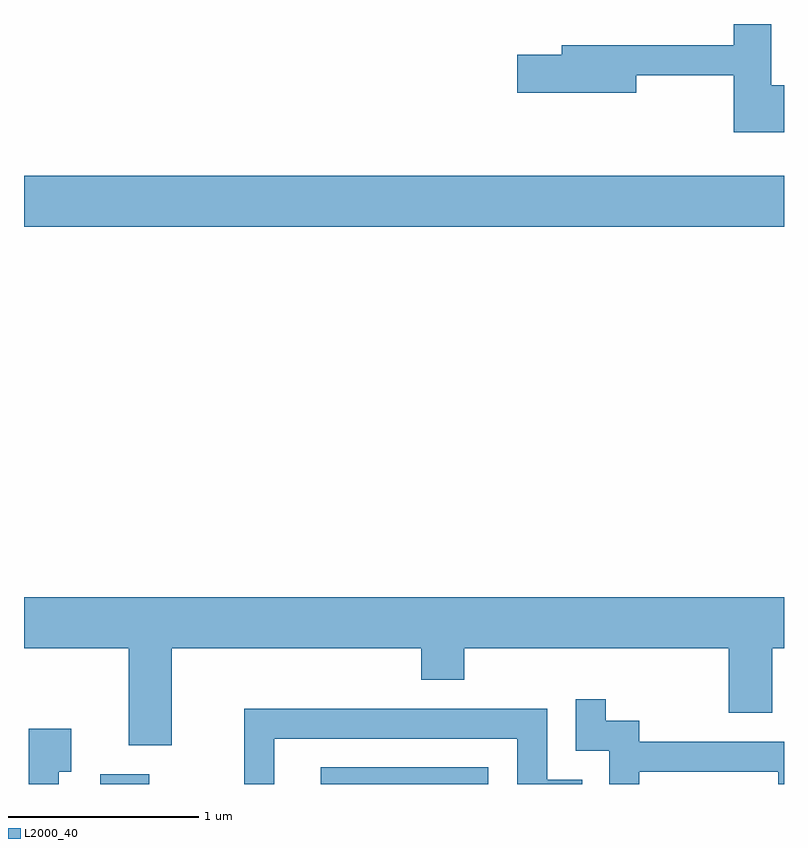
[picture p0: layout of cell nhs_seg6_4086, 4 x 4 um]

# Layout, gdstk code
import gdstk
lib = gdstk.Library(unit=1e-6, precision=1e-09)
def R(c, l, rs):  # rectangles x0, y0, x1, y1
    for r in rs: c.add(gdstk.rectangle(r[:2], r[2:], *l))
def P(c, l, *ps):  # polygons
    for p in ps: c.add(gdstk.Polygon(p, *l))
L2000_40 = (2000, 40)

nhs_seg6_4086 = lib.new_cell('nhs_seg6_4086')
R(nhs_seg6_4086, L2000_40, [(310.011,1598.162,310.269,1598.214), (311.173,1598.162,312.054,1598.249), (309.611,1601.096,313.611,1601.364)])
P(nhs_seg6_4086, L2000_40, [(313.611,1601.839),(313.544,1601.839),(313.544,1602.162),(313.346,1602.162),(313.346,1602.049),(312.441,1602.049),(312.441,1601.999),(312.206,1601.999),(312.206,1601.801),(312.834,1601.801),(312.834,1601.891),(313.346,1601.891),(313.346,1601.591),(313.611,1601.591)],
  [(310.389,1598.876),(311.701,1598.876),(311.701,1598.711),(311.929,1598.711),(311.929,1598.876),(313.321,1598.876),(313.321,1598.536),(313.549,1598.536),(313.549,1598.876),(313.611,1598.876),(313.611,1599.144),(309.611,1599.144),(309.611,1598.876),(310.161,1598.876),(310.161,1598.366),(310.389,1598.366)],
  [(312.849,1598.226),(313.581,1598.226),(313.581,1598.162),(313.611,1598.162),(313.611,1598.384),(312.849,1598.384),(312.849,1598.494),(312.674,1598.494),(312.674,1598.608),(312.516,1598.608),(312.516,1598.336),(312.691,1598.336),(312.691,1598.162),(312.849,1598.162)],
  [(310.929,1598.401),(312.206,1598.401),(312.206,1598.162),(312.548,1598.162),(312.548,1598.184),(312.364,1598.184),(312.364,1598.559),(310.771,1598.559),(310.771,1598.162),(310.929,1598.162)],
  [(309.794,1598.226),(309.859,1598.226),(309.859,1598.454),(309.636,1598.454),(309.636,1598.162),(309.794,1598.162)])

lib.write_gds('nhs_seg6_4086.gds')
